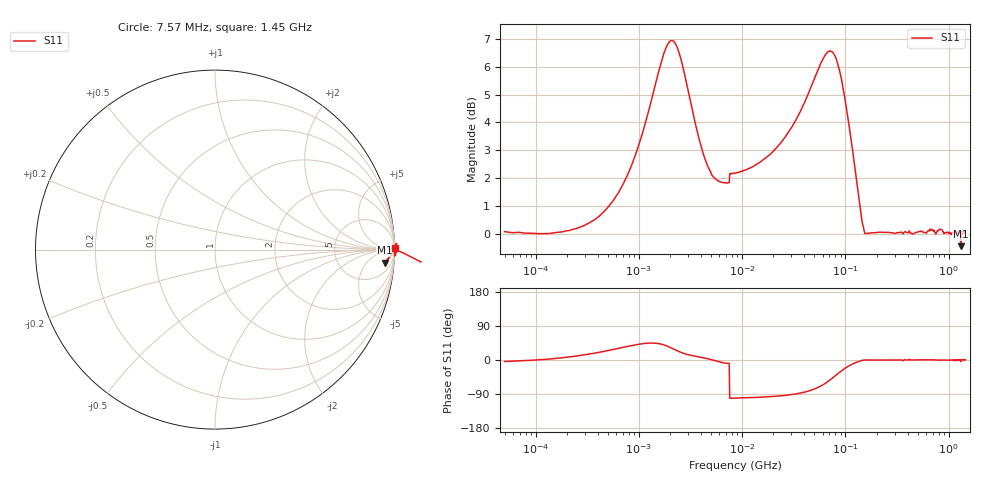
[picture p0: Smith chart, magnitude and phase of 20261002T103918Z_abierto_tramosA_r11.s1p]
! piloto_saltos / abierto_tramosA / r11
# HZ S RI R 50
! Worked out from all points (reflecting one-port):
!   501 points, 50 kHz to 1.45 GHz, reference 50 ohm
!   lowest |S11| = -0.4 dB at 1.306 GHz (marker M1), VSWR 38.82, Z = 613 - j901 ohm
!   phase of S11 starts at -4 deg and turns +5 deg over the sweep
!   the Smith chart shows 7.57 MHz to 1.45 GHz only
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50000  1.006 -0.0699
183000  1.003 0.1063
363500  1.008 0.3182
658000  1.022 0.6308
1180000  1.152 1.119
1630000  1.5 1.353
1990000  1.845 1.231
2440000  1.959 0.8035
3340000  1.615 0.3149
4690000  1.315 0.0693
7300000  1.219 -0.1923
7750000  -0.2413 -1.26
8560000  -0.2351 -1.264
1.81e7  -0.1688 -1.372
3.16e7  -0.0101 -1.578
4.69e7  0.3384 -1.813
5.68e7  0.6993 -1.885
6.49e7  1.046 -1.827
7.39e7  1.397 -1.599
8.65e7  1.652 -1.099
9.82e7  1.625 -0.6731
1e8  1.61 -0.6188
1.18e8  1.377 -0.2435
1.36e8  1.147 -0.0687
1.63e8  1.001 0.000794
4.06e8  1.004 0.00102
1.306e9  0.947 -0.072
1.45e9  1.003 0.0115
